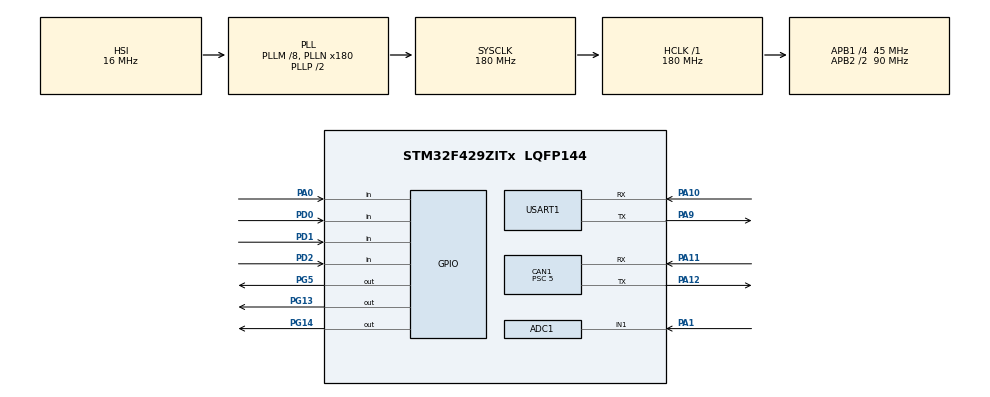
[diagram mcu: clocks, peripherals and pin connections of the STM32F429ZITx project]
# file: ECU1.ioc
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ADC1.Channel-1\#ChannelRegularConversion=ADC_CHANNEL_1
ADC1.NbrOfConversionFlag=1
ADC1.Rank-1\#ChannelRegularConversion=1
ADC1.SamplingTime-1\#ChannelRegularConversion=ADC_SAMPLETIME_3CYCLES
ADC1.master=1
CAN1.BS1=CAN_BS1_9TQ
CAN1.BS2=CAN_BS2_8TQ
CAN1.CalculateBaudRate=500000
CAN1.CalculateTimeBit=2000
CAN1.CalculateTimeQuantum=111.11111111111111
CAN1.NART=ENABLE
CAN1.Prescaler=5
Mcu.Family=STM32F4
Mcu.Name=STM32F429ZITx
Mcu.Package=LQFP144
NVIC.ADC_IRQn=true\:0\:0\:false\:false\:true\:true\:true\:true
NVIC.PriorityGroup=NVIC_PRIORITYGROUP_4
NVIC.TIM4_IRQn=true\:0\:0\:false\:false\:true\:true\:true\:true
PA0/WKUP.Signal=GPIO_Input
PA1.Signal=ADCx_IN1
PA10.Mode=Asynchronous
PA10.Signal=USART1_RX
PA11.Mode=CAN_Activate
PA11.Signal=CAN1_RX
PA12.Mode=CAN_Activate
PA12.Signal=CAN1_TX
PA9.Mode=Asynchronous
PA9.Signal=USART1_TX
PD0.Signal=GPIO_Input
PD1.Signal=GPIO_Input
PD2.Signal=GPIO_Input
PG13.Signal=GPIO_Output
PG14.Signal=GPIO_Output
PG5.Signal=GPIO_Output
ProjectManager.HeapSize=0x200
ProjectManager.StackSize=0x400
ProjectManager.TargetToolchain=STM32CubeIDE
RCC.48MHZClocksFreq_Value=90000000
RCC.AHBFreq_Value=180000000
RCC.APB1CLKDivider=RCC_HCLK_DIV4
RCC.APB1Freq_Value=45000000
RCC.APB1TimFreq_Value=90000000
RCC.APB2CLKDivider=RCC_HCLK_DIV2
RCC.APB2Freq_Value=90000000
RCC.APB2TimFreq_Value=180000000
RCC.CortexFreq_Value=180000000
RCC.HCLKFreq_Value=180000000
RCC.HSE_VALUE=25000000
RCC.HSI_VALUE=16000000
RCC.LSE_VALUE=32768
RCC.PLLM=8
RCC.PLLN=180
RCC.SYSCLKFreq_VALUE=180000000
RCC.SYSCLKSource=RCC_SYSCLKSOURCE_PLLCLK
RCC.VCOOutputFreq_Value=360000000
SH.ADCx_IN1.0=ADC1_IN1,IN1
TIM4.Period=9000-1
TIM4.Prescaler=10000-1
USART1.VirtualMode=VM_ASYNC
VP_TIM4_VS_ClockSourceINT.Mode=Internal
board=custom

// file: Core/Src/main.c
/* USER CODE BEGIN Header */
/**
 ******************************************************************************
 * @file           : main.c
 * @brief          : Main program body
 ******************************************************************************
 * @attention
 *
 * Copyright (c) 2026 STMicroelectronics.
 * All rights reserved.
 *
 * This software is licensed under terms that can be found in the LICENSE file
 * in the root directory of this software component.
 * If no LICENSE file comes with this software, it is provided AS-IS.
 *
 ******************************************************************************
 */
/* USER CODE END Header */
#include "main.h"
/* USER CODE BEGIN Includes */

#include<stdio.h>
#include<string.h>
#include "dht11.h"

/*==========================CAN MESSAGE IDs===============================*/
#define id_ind 0x101
#define id_adc 0x201
#define id_temp 0x301

/*======================== GLOBAL FLAGS ===================================*/
uint8_t send_flag;
uint8_t adc_flag; //call adc conversion only when adc changed
static uint8_t flag;

/* USER CODE END Includes */

ADC_HandleTypeDef hadc1;

CAN_HandleTypeDef hcan1;

TIM_HandleTypeDef htim4;

UART_HandleTypeDef huart1;

void SystemClock_Config(void);
static void MX_GPIO_Init(void);
static void MX_USART1_UART_Init(void);
static void MX_ADC1_Init(void);
static void MX_TIM4_Init(void);
static void MX_CAN1_Init(void);

/* USER CODE BEGIN 0 */
/*========================CAN TRANSMIT STRUCTURE =============================*/
CAN_TxHeaderTypeDef TxHeader;
uint32_t TxMailbox;
uint8_t TxData[8];

/* ======================= CAN TRANSMIT FUNCTION =============================*/
void can_transmitter(uint16_t id, uint8_t *data, uint8_t size) {
	if (HAL_CAN_GetTxMailboxesFreeLevel(&hcan1) > 0) {
		TxHeader.StdId = id;
		TxHeader.IDE = CAN_ID_STD;
		TxHeader.RTR = CAN_RTR_DATA;
		TxHeader.DLC = size;

		for (uint8_t i = 0; i < size; i++)
			TxData[i] = data[i];

		if (HAL_CAN_AddTxMessage(&hcan1, &TxHeader, TxData, &TxMailbox) == HAL_OK)
		{
		    HAL_GPIO_WritePin(GPIOG, GPIO_PIN_15, 1); //Tx success indicator
		}
		else
		{
		    HAL_GPIO_WritePin(GPIOG, GPIO_PIN_15, 0); //Tx error
		}
	}

}

uint8_t adc_value;
uint8_t adc_buf[100]; 	//ADC buffer

uint8_t buf[100];		//Indicator buffer

DHT11_Data_t temp;		//Temperature data structure variable
uint8_t temp_buf[100];	//Temperature buffer

uint32_t delay = 0; //to provide non blocking delay

void read_digital_keypad() {
	static uint8_t pin1 = 1, pin2 = 1, pin3 = 1, once1 = 1, once2 = 1, once3 = 1;
	pin1 = HAL_GPIO_ReadPin(GPIOD, GPIO_PIN_0);    //Right Indicator
	pin2 = HAL_GPIO_ReadPin(GPIOD, GPIO_PIN_1);    //Left Indicator
	pin3 = HAL_GPIO_ReadPin(GPIOD, GPIO_PIN_2);    //No Indicator

	if (pin1 == 0 && once1) {
		once1 = 0;
		flag = 1;
	} else if (pin1 == 1)
		once1 = 1;
	if (pin2 == 0 && once2) {
		once2 = 0;
		flag = 2;
	} else if (pin2 == 1)
		once2 = 1;
	if (pin3 == 0 && once3) {
		once3 = 0;
		flag = 0;
	} else if (pin3 == 1)
		once3 = 1;
}

/*============================= INDICATOR ========================================*/
uint8_t ind[1];

void indicator(void) {
	read_digital_keypad();

	if (delay++ == 100) {
		delay = 0;
		if (flag == 1) {
			ind[0] = 'R';
			sprintf(buf, "Right Indicator_");
			HAL_GPIO_WritePin(GPIOG, GPIO_PIN_14, 0);
			HAL_GPIO_TogglePin(GPIOG, GPIO_PIN_13);
		} else if (flag == 2) {
			ind[0] = 'L';
			sprintf(buf, "left  Indicator__");
			HAL_GPIO_WritePin(GPIOG, GPIO_PIN_13, 0);
			HAL_GPIO_TogglePin(GPIOG, GPIO_PIN_14);
		} else if (flag == 0) {
			ind[0] = 'N';
			HAL_GPIO_WritePin(GPIOG, GPIO_PIN_13, 0);
			HAL_GPIO_WritePin(GPIOG, GPIO_PIN_14, 0);
			sprintf(buf, "No__Indicator___");
		}
	}
}

/*================================== SPEED =====================================*/
uint32_t speed_delay;
uint8_t speed_value[1];
uint8_t temp_val[1];

void speed(void) {
	//POLLING METHOD
	/*if (speed_delay++ == 5000) {
		speed_delay = 0;
		HAL_ADC_Start(&hadc1);
		HAL_ADC_PollForConversion(&hadc1, HAL_MAX_DELAY);
		adc_value = HAL_ADC_GetValue(&hadc1) / 40.95;
		HAL_ADC_Start_IT(&hadc1);
	}*/

	//INTERRUPT METHOD
	sprintf(adc_buf, "Speed = %d__", adc_value);
	speed_value[0] = adc_value;
}

/* USER CODE END 0 */

int main(void) {

	/* MCU Configuration--------------------------------------------------------*/

	/* Reset of all peripherals, Initializes the Flash interface and the Systick. */
	HAL_Init();

	/* Configure the system clock */
	SystemClock_Config();

	/* Initialize all configured peripherals */
	MX_GPIO_Init();
	MX_USART1_UART_Init();
	MX_ADC1_Init();
	MX_TIM4_Init();
	MX_CAN1_Init();
	/* USER CODE BEGIN 2 */
	DWT_Delay_Init();
	/* USER CODE END 2 */

	/* Infinite loop */
	/* USER CODE BEGIN WHILE */
	HAL_TIM_Base_Start_IT(&htim4);		//start timer
	HAL_ADC_Start_IT(&hadc1); 			//Start ADC Interrupt mode
	sprintf(buf, "No__Indicator___"); 	//Initially
	sprintf(adc_buf, "Speed = %d__", adc_value);

	HAL_CAN_Start(&hcan1);				//Start CAN peripheral

	while (1) {
		//INDICATOR
		indicator();

		//SPEED
		if(adc_flag)
		{
			adc_flag = 0;
			speed();
		}

		//TEMPERATURE
		sprintf(temp_buf, "Temp : %d\r", temp.temperature);
		temp_val[0] = temp.temperature;
		//OUTPUT ON UART
		HAL_UART_Transmit(&huart1, buf, strlen(buf), HAL_MAX_DELAY);
		HAL_UART_Transmit(&huart1, adc_buf, strlen(adc_buf), HAL_MAX_DELAY);
		HAL_UART_Transmit(&huart1, temp_buf, strlen(temp_buf),
		HAL_MAX_DELAY);

		/*----------------------CAN Transmission ---------------*/
		if(send_flag)
		{
			send_flag = 0;
			can_transmitter(id_ind, ind, 1);
			can_transmitter(id_adc, speed_value, 1);
			can_transmitter(id_temp, temp_val, 1);
		}
		/* USER CODE END WHILE */

	}
}

void SystemClock_Config(void) {
	RCC_OscInitTypeDef RCC_OscInitStruct = { 0 };
	RCC_ClkInitTypeDef RCC_ClkInitStruct = { 0 };

	/** Configure the main internal regulator output voltage
	 */
	__HAL_RCC_PWR_CLK_ENABLE();
	__HAL_PWR_VOLTAGESCALING_CONFIG(PWR_REGULATOR_VOLTAGE_SCALE1);

	/** Initializes the RCC Oscillators according to the specified parameters
	 * in the RCC_OscInitTypeDef structure.
	 */
	RCC_OscInitStruct.OscillatorType = RCC_OSCILLATORTYPE_HSI;
	RCC_OscInitStruct.HSIState = RCC_HSI_ON;
	RCC_OscInitStruct.HSICalibrationValue = RCC_HSICALIBRATION_DEFAULT;
	RCC_OscInitStruct.PLL.PLLState = RCC_PLL_ON;
	RCC_OscInitStruct.PLL.PLLSource = RCC_PLLSOURCE_HSI;
	RCC_OscInitStruct.PLL.PLLM = 8;
	RCC_OscInitStruct.PLL.PLLN = 180;
	RCC_OscInitStruct.PLL.PLLP = RCC_PLLP_DIV2;
	RCC_OscInitStruct.PLL.PLLQ = 4;
	if (HAL_RCC_OscConfig(&RCC_OscInitStruct) != HAL_OK) {
		Error_Handler();
	}

	/** Activate the Over-Drive mode
	 */
	if (HAL_PWREx_EnableOverDrive() != HAL_OK) {
		Error_Handler();
	}

	/** Initializes the CPU, AHB and APB buses clocks
	 */
	RCC_ClkInitStruct.ClockType = RCC_CLOCKTYPE_HCLK | RCC_CLOCKTYPE_SYSCLK
			| RCC_CLOCKTYPE_PCLK1 | RCC_CLOCKTYPE_PCLK2;
	RCC_ClkInitStruct.SYSCLKSource = RCC_SYSCLKSOURCE_PLLCLK;
	RCC_ClkInitStruct.AHBCLKDivider = RCC_SYSCLK_DIV1;
	RCC_ClkInitStruct.APB1CLKDivider = RCC_HCLK_DIV4;
	RCC_ClkInitStruct.APB2CLKDivider = RCC_HCLK_DIV2;

	if (HAL_RCC_ClockConfig(&RCC_ClkInitStruct, FLASH_LATENCY_5) != HAL_OK) {
		Error_Handler();
	}
}

static void MX_ADC1_Init(void) {

	ADC_ChannelConfTypeDef sConfig = { 0 };

	/** Configure the global features of the ADC (Clock, Resolution, Data Alignment and number of conversion)
	 */
	hadc1.Instance = ADC1;
	hadc1.Init.ClockPrescaler = ADC_CLOCK_SYNC_PCLK_DIV4;
	hadc1.Init.Resolution = ADC_RESOLUTION_12B;
	hadc1.Init.ScanConvMode = DISABLE;
	hadc1.Init.ContinuousConvMode = DISABLE;
	hadc1.Init.DiscontinuousConvMode = DISABLE;
	hadc1.Init.ExternalTrigConvEdge = ADC_EXTERNALTRIGCONVEDGE_NONE;
	hadc1.Init.ExternalTrigConv = ADC_SOFTWARE_START;
	hadc1.Init.DataAlign = ADC_DATAALIGN_RIGHT;
	hadc1.Init.NbrOfConversion = 1;
	hadc1.Init.DMAContinuousRequests = DISABLE;
	hadc1.Init.EOCSelection = ADC_EOC_SINGLE_CONV;
	if (HAL_ADC_Init(&hadc1) != HAL_OK) {
		Error_Handler();
	}

	/** Configure for the selected ADC regular channel its corresponding rank in the sequencer and its sample time.
	 */
	sConfig.Channel = ADC_CHANNEL_1;
	sConfig.Rank = 1;
	sConfig.SamplingTime = ADC_SAMPLETIME_3CYCLES;
	if (HAL_ADC_ConfigChannel(&hadc1, &sConfig) != HAL_OK) {
		Error_Handler();
	}

}

static void MX_CAN1_Init(void) {

	hcan1.Instance = CAN1;
	hcan1.Init.Prescaler = 5;
	hcan1.Init.Mode = CAN_MODE_NORMAL;
	hcan1.Init.SyncJumpWidth = CAN_SJW_1TQ;
	hcan1.Init.TimeSeg1 = CAN_BS1_9TQ;
	hcan1.Init.TimeSeg2 = CAN_BS2_8TQ;
	hcan1.Init.TimeTriggeredMode = DISABLE;
	hcan1.Init.AutoBusOff = DISABLE;
	hcan1.Init.AutoWakeUp = DISABLE;
	hcan1.Init.AutoRetransmission = ENABLE;
	hcan1.Init.ReceiveFifoLocked = DISABLE;
	hcan1.Init.TransmitFifoPriority = DISABLE;
	if (HAL_CAN_Init(&hcan1) != HAL_OK) {
		Error_Handler();
	}

}

static void MX_TIM4_Init(void) {

	TIM_ClockConfigTypeDef sClockSourceConfig = { 0 };
	TIM_MasterConfigTypeDef sMasterConfig = { 0 };

	htim4.Instance = TIM4;
	htim4.Init.Prescaler = 10000 - 1;
	htim4.Init.CounterMode = TIM_COUNTERMODE_UP;
	htim4.Init.Period = 9000 - 1;
	htim4.Init.ClockDivision = TIM_CLOCKDIVISION_DIV1;
	htim4.Init.AutoReloadPreload = TIM_AUTORELOAD_PRELOAD_DISABLE;
	if (HAL_TIM_Base_Init(&htim4) != HAL_OK) {
		Error_Handler();
	}
	sClockSourceConfig.ClockSource = TIM_CLOCKSOURCE_INTERNAL;
	if (HAL_TIM_ConfigClockSource(&htim4, &sClockSourceConfig) != HAL_OK) {
		Error_Handler();
	}
	sMasterConfig.MasterOutputTrigger = TIM_TRGO_RESET;
	sMasterConfig.MasterSlaveMode = TIM_MASTERSLAVEMODE_DISABLE;
	if (HAL_TIMEx_MasterConfigSynchronization(&htim4, &sMasterConfig)
			!= HAL_OK) {
		Error_Handler();
	}

}

static void MX_USART1_UART_Init(void) {

	huart1.Instance = USART1;
	huart1.Init.BaudRate = 115200;
	huart1.Init.WordLength = UART_WORDLENGTH_8B;
	huart1.Init.StopBits = UART_STOPBITS_1;
	huart1.Init.Parity = UART_PARITY_NONE;
	huart1.Init.Mode = UART_MODE_TX_RX;
	huart1.Init.HwFlowCtl = UART_HWCONTROL_NONE;
	huart1.Init.OverSampling = UART_OVERSAMPLING_16;
	if (HAL_UART_Init(&huart1) != HAL_OK) {
		Error_Handler();
	}

}

static void MX_GPIO_Init(void) {
	GPIO_InitTypeDef GPIO_InitStruct = { 0 };

	/* GPIO Ports Clock Enable */
	__HAL_RCC_GPIOA_CLK_ENABLE();
	__HAL_RCC_GPIOG_CLK_ENABLE();
	__HAL_RCC_GPIOD_CLK_ENABLE();

	/*Configure GPIO pin Output Level */
	HAL_GPIO_WritePin(GPIOG, GPIO_PIN_5 | GPIO_PIN_13 | GPIO_PIN_14,
			GPIO_PIN_RESET);

	/*Configure GPIO pin : PA0 */
	GPIO_InitStruct.Pin = GPIO_PIN_0;
	GPIO_InitStruct.Mode = GPIO_MODE_INPUT;
	GPIO_InitStruct.Pull = GPIO_NOPULL;
	HAL_GPIO_Init(GPIOA, &GPIO_InitStruct);

	/*Configure GPIO pins : PG5 PG13 PG14 */
	GPIO_InitStruct.Pin = GPIO_PIN_5 | GPIO_PIN_13 | GPIO_PIN_14;
	GPIO_InitStruct.Mode = GPIO_MODE_OUTPUT_PP;
	GPIO_InitStruct.Pull = GPIO_NOPULL;
	GPIO_InitStruct.Speed = GPIO_SPEED_FREQ_LOW;
	HAL_GPIO_Init(GPIOG, &GPIO_InitStruct);

	/*Configure GPIO pins : PD0 PD1 PD2 */
	GPIO_InitStruct.Pin = GPIO_PIN_0 | GPIO_PIN_1 | GPIO_PIN_2;
	GPIO_InitStruct.Mode = GPIO_MODE_INPUT;
	GPIO_InitStruct.Pull = GPIO_NOPULL;
	HAL_GPIO_Init(GPIOD, &GPIO_InitStruct);

}

void Error_Handler(void) {
	__disable_irq();
	while (1) {
	}
}
